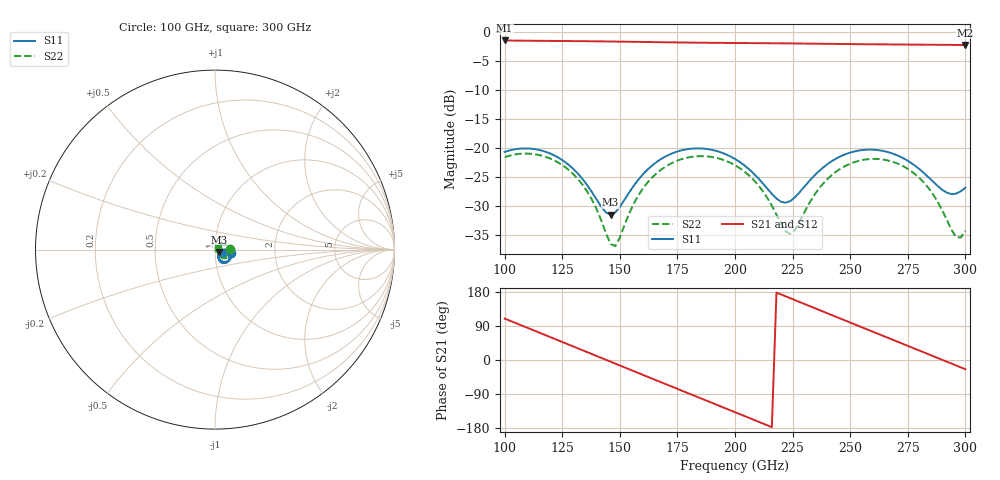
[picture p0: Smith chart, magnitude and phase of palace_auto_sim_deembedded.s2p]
! Created with skrf 1.11.0 (http://scikit-rf.org).
# GHz S DB R 50.0
!freq dBS11 angS11 dBS21 angS21 dBS12 angS12 dBS22 angS22
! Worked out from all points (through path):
!   101 points, 100 GHz to 300 GHz, reference 50 ohm
!   highest |S21| = -1.47 dB at 100 GHz (marker M1); lowest = -2.3 dB at 300 GHz (marker M2)
!   group delay of S21, straight-line fit = 6.86 ps
!   lowest |S11| = -31.4 dB at 146 GHz (marker M3), VSWR 1.06, Z = 52.3 - j1.51 ohm
!   |S11| at or under -10 dB: start of sweep to end of sweep
!   |S22| runs from -36.8 to -20.9 dB; largest |S21 - S12| = 9.7e-14
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100  -20.64 -11.1  -1.47 109.3  -1.47 109.3  -21.54 3.0
108  -20.04 -26.3  -1.51 89.6  -1.51 89.6  -20.93 -11.6
116  -20.40 -41.4  -1.54 69.9  -1.54 69.9  -21.27 -26.5
126  -22.30 -58.3  -1.57 45.2  -1.57 45.2  -23.16 -44.2
134  -25.38 -66.2  -1.60 25.3  -1.60 25.3  -26.37 -55.3
146  -31.42 -32.5  -1.65 -4.5  -1.65 -4.5  -36.47 -26.5
148  -31.05 -20.1  -1.66 -9.4  -1.66 -9.4  -36.84 -2.6
158  -25.43 1.5  -1.72 -34.2  -1.72 -34.2  -28.14 36.2
168  -21.84 -8.7  -1.78 -58.9  -1.78 -58.9  -23.66 24.4
176  -20.44 -21.8  -1.82 -78.6  -1.82 -78.6  -21.98 10.6
184  -20.02 -35.8  -1.85 -98.3  -1.85 -98.3  -21.37 -4.0
200  -21.85 -61.3  -1.91 -137.7  -1.91 -137.7  -22.92 -32.4
212  -26.00 -67.8  -1.94 -167.3  -1.94 -167.3  -27.34 -46.6
220  -29.21 -48.2  -1.97 172.9  -1.97 172.9  -33.00 -34.0
224  -29.08 -30.7  -1.98 163.0  -1.98 163.0  -34.75 -4.9
234  -24.88 -12.6  -2.02 138.3  -2.02 138.3  -28.31 33.0
244  -21.76 -20.5  -2.07 113.6  -2.07 113.6  -24.00 23.6
252  -20.53 -32.0  -2.11 93.9  -2.11 93.9  -22.37 10.3
268  -20.86 -56.5  -2.16 54.6  -2.16 54.6  -22.28 -19.2
284  -24.99 -67.8  -2.21 15.1  -2.21 15.1  -26.85 -43.3
296  -27.80 -38.7  -2.25 -14.5  -2.25 -14.5  -35.29 -13.1
300  -26.80 -26.9  -2.26 -24.4  -2.26 -24.4  -34.19 21.4
